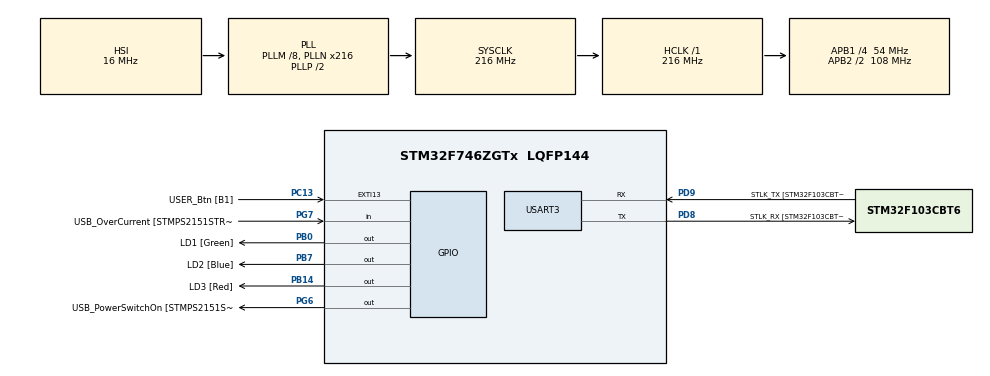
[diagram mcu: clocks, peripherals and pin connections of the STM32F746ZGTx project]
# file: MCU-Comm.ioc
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Mcu.Family=STM32F7
Mcu.Name=STM32F746ZGTx
Mcu.Package=LQFP144
NVIC.PriorityGroup=NVIC_PRIORITYGROUP_4
NVIC.USART3_IRQn=true\:0\:0\:false\:false\:true\:true\:true\:true
PA1.GPIO_Label=RMII_REF_CLK [LAN8742A-CZ-TR_REFCLK0]
PA1.Signal=ETH_REF_CLK
PA10.GPIO_Label=USB_ID
PA10.Signal=USB_OTG_FS_ID
PA11.GPIO_Label=USB_DM
PA11.Signal=USB_OTG_FS_DM
PA12.GPIO_Label=USB_DP
PA12.Signal=USB_OTG_FS_DP
PA13.GPIO_Label=TMS
PA13.Mode=Serial_Wire
PA13.Signal=SYS_JTMS-SWDIO
PA14.GPIO_Label=TCK
PA14.Mode=Serial_Wire
PA14.Signal=SYS_JTCK-SWCLK
PA2.GPIO_Label=RMII_MDIO [LAN8742A-CZ-TR_MDIO]
PA2.Signal=ETH_MDIO
PA7.GPIO_Label=RMII_CRS_DV [LAN8742A-CZ-TR_CRS_DV]
PA7.Signal=ETH_CRS_DV
PA8.GPIO_Label=USB_SOF [TP1]
PA8.Signal=USB_OTG_FS_SOF
PA9.GPIO_Label=USB_VBUS
PA9.Signal=USB_OTG_FS_VBUS
PB0.GPIO_Label=LD1 [Green]
PB0.Signal=GPIO_Output
PB13.GPIO_Label=RMII_TXD1 [LAN8742A-CZ-TR_TXD1]
PB13.Signal=ETH_TXD1
PB14.GPIO_Label=LD3 [Red]
PB14.Signal=GPIO_Output
PB3.GPIO_Label=SW0
PB3.Signal=SYS_JTDO-SWO
PB7.GPIO_Label=LD2 [Blue]
PB7.Signal=GPIO_Output
PC1.GPIO_Label=RMII_MDC [LAN8742A-CZ-TR_MDC]
PC1.Signal=ETH_MDC
PC13.GPIO_Label=USER_Btn [B1]
PC13.Signal=GPXTI13
PC14/OSC32_IN.Signal=RCC_OSC32_IN
PC15/OSC32_OUT.Signal=RCC_OSC32_OUT
PC4.GPIO_Label=RMII_RXD0 [LAN8742A-CZ-TR_RXD0]
PC4.Signal=ETH_RXD0
PC5.GPIO_Label=RMII_RXD1 [LAN8742A-CZ-TR_RXD1]
PC5.Signal=ETH_RXD1
PD8.GPIO_Label=STLK_RX [STM32F103CBT6_PA3]
PD8.GPIO_PuPd=GPIO_PULLUP
PD8.Mode=Asynchronous
PD8.Signal=USART3_TX
PD9.GPIO_Label=STLK_TX [STM32F103CBT6_PA2]
PD9.GPIO_PuPd=GPIO_PULLUP
PD9.Mode=Asynchronous
PD9.Signal=USART3_RX
PG11.GPIO_Label=RMII_TX_EN [LAN8742A-CZ-TR_TXEN]
PG11.Signal=ETH_TX_EN
PG13.GPIO_Label=RMII_TXD0 [LAN8742A-CZ-TR_TXD0]
PG13.Signal=ETH_TXD0
PG6.GPIO_Label=USB_PowerSwitchOn [STMPS2151STR_EN]
PG6.Signal=GPIO_Output
PG7.GPIO_Label=USB_OverCurrent [STMPS2151STR_FAULT]
PG7.Signal=GPIO_Input
PH0/OSC_IN.GPIO_Label=MCO [STM32F103CBT6_PA8]
PH0/OSC_IN.Signal=RCC_OSC_IN
PH1/OSC_OUT.Signal=RCC_OSC_OUT
ProjectManager.HeapSize=0x200
ProjectManager.StackSize=0x400
ProjectManager.TargetToolchain=STM32CubeIDE
RCC.48MHZClocksFreq_Value=24000000
RCC.AHBFreq_Value=216000000
RCC.APB1CLKDivider=RCC_HCLK_DIV4
RCC.APB1Freq_Value=54000000
RCC.APB1TimFreq_Value=108000000
RCC.APB2CLKDivider=RCC_HCLK_DIV2
RCC.APB2Freq_Value=108000000
RCC.APB2TimFreq_Value=216000000
RCC.CortexFreq_Value=216000000
RCC.HCLKFreq_Value=216000000
RCC.HSE_VALUE=8000000
RCC.HSI_VALUE=16000000
RCC.PLLM=8
RCC.PLLMUL=RCC_PLL_MUL9
RCC.PLLN=216
RCC.PLLQ=3
RCC.PRESCALERUSB=RCC_USBCLKSOURCE_PLL_DIV1_5
RCC.SYSCLKFreq_VALUE=216000000
RCC.SYSCLKSource=RCC_SYSCLKSOURCE_PLLCLK
RCC.SYSCLKSourceVirtual=RCC_SYSCLKSOURCE_PLLCLK
RCC.USBFreq_Value=144000000
RCC.VCOOutputFreq_Value=432000000
USART3.VirtualMode-Asynchronous=VM_ASYNC
board=NUCLEO-F746ZG

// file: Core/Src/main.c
/* USER CODE BEGIN Header */
/**
  ******************************************************************************
  * @file           : main.c
  * @brief          : Main program body
  ******************************************************************************
  * @attention
  *
  * Copyright (c) 2024 STMicroelectronics.
  * All rights reserved.
  *
  * This software is licensed under terms that can be found in the LICENSE file
  * in the root directory of this software component.
  * If no LICENSE file comes with this software, it is provided AS-IS.
  *
  ******************************************************************************
  */
/* USER CODE END Header */
#include "main.h"
#include <stdio.h>

UART_HandleTypeDef huart3;

void SystemClock_Config(void);
static void MX_GPIO_Init(void);
static void MX_USART3_UART_Init(void);

/* USER CODE BEGIN 0 */

void uart_tx_bytes(UART_HandleTypeDef *uart, const uint8_t *bytes, uint32_t nBytes)
{
	const uint8_t *pData = bytes;
	uint32_t nData = nBytes;

	while (nData > 0)
	{
		while(!(uart->Instance->ISR & 0x80));

		uart->Instance->TDR = *pData;
		pData++;
		nData--;
	}
}

void uart_rx_bytes(UART_HandleTypeDef *uart, uint8_t *bytes, uint32_t nBytes)
{
	uint8_t *pData = bytes;
	uint32_t nData = nBytes;

	while (nData > 0)
	{
		while (!(uart->Instance->ISR & 0x20));

		*pData = (uint8_t)uart->Instance->RDR;

		pData++;
		nData--;
	}
}

/* USER CODE END 0 */

int main(void)
{

  /* MCU Configuration--------------------------------------------------------*/

  /* Reset of all peripherals, Initializes the Flash interface and the Systick. */
  HAL_Init();

  /* Configure the system clock */
  SystemClock_Config();

  /* Initialize all configured peripherals */
  MX_GPIO_Init();
  MX_USART3_UART_Init();
  /* USER CODE BEGIN 2 */

  uint8_t MSG[35] = {'\0'};
  // uint8_t bytesReceived[35];
  uint8_t i = 0;

  // uint8_t byteRead = 0;
  // uint8_t i = 0;

  /* USER CODE END 2 */

  /* Infinite loop */
  /* USER CODE BEGIN WHILE */
  while (1)
  {
	  // uart_rx_bytes(&huart3, bytesReceived, sizeof(bytesReceived));
	  // uart_tx_bytes(&huart3, MSG, sizeof(MSG));

	  sprintf((char*)MSG, "Hello SDC! i = %d\r\n", i);
	  uart_tx_bytes(&huart3, MSG, sizeof(MSG));
	  HAL_Delay(500);
	  i++;

	  /*uart_rx_bytes(&huart3, &byteRead, sizeof(byteRead));
	  for (i = 0; i < (uint8_t)byteRead; i++)
	  {
		  HAL_GPIO_TogglePin(GPIOB, GPIO_PIN_0);
		  HAL_Delay(1000);
		  HAL_GPIO_TogglePin(GPIOB, GPIO_PIN_0);
	  }*/

	  /*uint8_t receivedByte;
	  uart_rx_bytes(&huart3, &receivedByte, sizeof(receivedByte));

	  for (uint8_t k = 0; k < receivedByte; k++)
	  {
		  HAL_GPIO_WritePin(GPIOB, GPIO_PIN_0, GPIO_PIN_SET);
		  HAL_Delay(1000);
		  HAL_GPIO_WritePin(GPIOB, GPIO_PIN_0, GPIO_PIN_RESET);
	  }*/

    /* USER CODE END WHILE */

  }
}

void SystemClock_Config(void)
{
  RCC_OscInitTypeDef RCC_OscInitStruct = {0};
  RCC_ClkInitTypeDef RCC_ClkInitStruct = {0};

  /** Configure the main internal regulator output voltage
  */
  __HAL_RCC_PWR_CLK_ENABLE();
  __HAL_PWR_VOLTAGESCALING_CONFIG(PWR_REGULATOR_VOLTAGE_SCALE1);

  /** Initializes the RCC Oscillators according to the specified parameters
  * in the RCC_OscInitTypeDef structure.
  */
  RCC_OscInitStruct.OscillatorType = RCC_OSCILLATORTYPE_HSI;
  RCC_OscInitStruct.HSIState = RCC_HSI_ON;
  RCC_OscInitStruct.HSICalibrationValue = RCC_HSICALIBRATION_DEFAULT;
  RCC_OscInitStruct.PLL.PLLState = RCC_PLL_ON;
  RCC_OscInitStruct.PLL.PLLSource = RCC_PLLSOURCE_HSI;
  RCC_OscInitStruct.PLL.PLLM = 8;
  RCC_OscInitStruct.PLL.PLLN = 216;
  RCC_OscInitStruct.PLL.PLLP = RCC_PLLP_DIV2;
  RCC_OscInitStruct.PLL.PLLQ = 3;
  if (HAL_RCC_OscConfig(&RCC_OscInitStruct) != HAL_OK)
  {
    Error_Handler();
  }

  /** Activate the Over-Drive mode
  */
  if (HAL_PWREx_EnableOverDrive() != HAL_OK)
  {
    Error_Handler();
  }

  /** Initializes the CPU, AHB and APB buses clocks
  */
  RCC_ClkInitStruct.ClockType = RCC_CLOCKTYPE_HCLK|RCC_CLOCKTYPE_SYSCLK
                              |RCC_CLOCKTYPE_PCLK1|RCC_CLOCKTYPE_PCLK2;
  RCC_ClkInitStruct.SYSCLKSource = RCC_SYSCLKSOURCE_PLLCLK;
  RCC_ClkInitStruct.AHBCLKDivider = RCC_SYSCLK_DIV1;
  RCC_ClkInitStruct.APB1CLKDivider = RCC_HCLK_DIV4;
  RCC_ClkInitStruct.APB2CLKDivider = RCC_HCLK_DIV2;

  if (HAL_RCC_ClockConfig(&RCC_ClkInitStruct, FLASH_LATENCY_7) != HAL_OK)
  {
    Error_Handler();
  }
}

static void MX_USART3_UART_Init(void)
{

  huart3.Instance = USART3;
  huart3.Init.BaudRate = 115200;
  huart3.Init.WordLength = UART_WORDLENGTH_8B;
  huart3.Init.StopBits = UART_STOPBITS_1;
  huart3.Init.Parity = UART_PARITY_NONE;
  huart3.Init.Mode = UART_MODE_TX_RX;
  huart3.Init.HwFlowCtl = UART_HWCONTROL_NONE;
  huart3.Init.OverSampling = UART_OVERSAMPLING_16;
  huart3.Init.OneBitSampling = UART_ONE_BIT_SAMPLE_DISABLE;
  huart3.AdvancedInit.AdvFeatureInit = UART_ADVFEATURE_NO_INIT;
  if (HAL_UART_Init(&huart3) != HAL_OK)
  {
    Error_Handler();
  }

}

static void MX_GPIO_Init(void)
{
  GPIO_InitTypeDef GPIO_InitStruct = {0};

  /* GPIO Ports Clock Enable */
  __HAL_RCC_GPIOC_CLK_ENABLE();
  __HAL_RCC_GPIOH_CLK_ENABLE();
  __HAL_RCC_GPIOA_CLK_ENABLE();
  __HAL_RCC_GPIOB_CLK_ENABLE();
  __HAL_RCC_GPIOD_CLK_ENABLE();
  __HAL_RCC_GPIOG_CLK_ENABLE();

  /*Configure GPIO pin Output Level */
  HAL_GPIO_WritePin(GPIOB, LD1_Pin|LD3_Pin|LD2_Pin, GPIO_PIN_RESET);

  /*Configure GPIO pin Output Level */
  HAL_GPIO_WritePin(USB_PowerSwitchOn_GPIO_Port, USB_PowerSwitchOn_Pin, GPIO_PIN_RESET);

  /*Configure GPIO pin : USER_Btn_Pin */
  GPIO_InitStruct.Pin = USER_Btn_Pin;
  GPIO_InitStruct.Mode = GPIO_MODE_IT_RISING;
  GPIO_InitStruct.Pull = GPIO_NOPULL;
  HAL_GPIO_Init(USER_Btn_GPIO_Port, &GPIO_InitStruct);

  /*Configure GPIO pins : RMII_MDC_Pin RMII_RXD0_Pin RMII_RXD1_Pin */
  GPIO_InitStruct.Pin = RMII_MDC_Pin|RMII_RXD0_Pin|RMII_RXD1_Pin;
  GPIO_InitStruct.Mode = GPIO_MODE_AF_PP;
  GPIO_InitStruct.Pull = GPIO_NOPULL;
  GPIO_InitStruct.Speed = GPIO_SPEED_FREQ_VERY_HIGH;
  GPIO_InitStruct.Alternate = GPIO_AF11_ETH;
  HAL_GPIO_Init(GPIOC, &GPIO_InitStruct);

  /*Configure GPIO pins : RMII_REF_CLK_Pin RMII_MDIO_Pin RMII_CRS_DV_Pin */
  GPIO_InitStruct.Pin = RMII_REF_CLK_Pin|RMII_MDIO_Pin|RMII_CRS_DV_Pin;
  GPIO_InitStruct.Mode = GPIO_MODE_AF_PP;
  GPIO_InitStruct.Pull = GPIO_NOPULL;
  GPIO_InitStruct.Speed = GPIO_SPEED_FREQ_VERY_HIGH;
  GPIO_InitStruct.Alternate = GPIO_AF11_ETH;
  HAL_GPIO_Init(GPIOA, &GPIO_InitStruct);

  /*Configure GPIO pins : LD1_Pin LD3_Pin LD2_Pin */
  GPIO_InitStruct.Pin = LD1_Pin|LD3_Pin|LD2_Pin;
  GPIO_InitStruct.Mode = GPIO_MODE_OUTPUT_PP;
  GPIO_InitStruct.Pull = GPIO_NOPULL;
  GPIO_InitStruct.Speed = GPIO_SPEED_FREQ_LOW;
  HAL_GPIO_Init(GPIOB, &GPIO_InitStruct);

  /*Configure GPIO pin : RMII_TXD1_Pin */
  GPIO_InitStruct.Pin = RMII_TXD1_Pin;
  GPIO_InitStruct.Mode = GPIO_MODE_AF_PP;
  GPIO_InitStruct.Pull = GPIO_NOPULL;
  GPIO_InitStruct.Speed = GPIO_SPEED_FREQ_VERY_HIGH;
  GPIO_InitStruct.Alternate = GPIO_AF11_ETH;
  HAL_GPIO_Init(RMII_TXD1_GPIO_Port, &GPIO_InitStruct);

  /*Configure GPIO pin : USB_PowerSwitchOn_Pin */
  GPIO_InitStruct.Pin = USB_PowerSwitchOn_Pin;
  GPIO_InitStruct.Mode = GPIO_MODE_OUTPUT_PP;
  GPIO_InitStruct.Pull = GPIO_NOPULL;
  GPIO_InitStruct.Speed = GPIO_SPEED_FREQ_LOW;
  HAL_GPIO_Init(USB_PowerSwitchOn_GPIO_Port, &GPIO_InitStruct);

  /*Configure GPIO pin : USB_OverCurrent_Pin */
  GPIO_InitStruct.Pin = USB_OverCurrent_Pin;
  GPIO_InitStruct.Mode = GPIO_MODE_INPUT;
  GPIO_InitStruct.Pull = GPIO_NOPULL;
  HAL_GPIO_Init(USB_OverCurrent_GPIO_Port, &GPIO_InitStruct);

  /*Configure GPIO pins : USB_SOF_Pin USB_ID_Pin USB_DM_Pin USB_DP_Pin */
  GPIO_InitStruct.Pin = USB_SOF_Pin|USB_ID_Pin|USB_DM_Pin|USB_DP_Pin;
  GPIO_InitStruct.Mode = GPIO_MODE_AF_PP;
  GPIO_InitStruct.Pull = GPIO_NOPULL;
  GPIO_InitStruct.Speed = GPIO_SPEED_FREQ_VERY_HIGH;
  GPIO_InitStruct.Alternate = GPIO_AF10_OTG_FS;
  HAL_GPIO_Init(GPIOA, &GPIO_InitStruct);

  /*Configure GPIO pin : USB_VBUS_Pin */
  GPIO_InitStruct.Pin = USB_VBUS_Pin;
  GPIO_InitStruct.Mode = GPIO_MODE_INPUT;
  GPIO_InitStruct.Pull = GPIO_NOPULL;
  HAL_GPIO_Init(USB_VBUS_GPIO_Port, &GPIO_InitStruct);

  /*Configure GPIO pins : RMII_TX_EN_Pin RMII_TXD0_Pin */
  GPIO_InitStruct.Pin = RMII_TX_EN_Pin|RMII_TXD0_Pin;
  GPIO_InitStruct.Mode = GPIO_MODE_AF_PP;
  GPIO_InitStruct.Pull = GPIO_NOPULL;
  GPIO_InitStruct.Speed = GPIO_SPEED_FREQ_VERY_HIGH;
  GPIO_InitStruct.Alternate = GPIO_AF11_ETH;
  HAL_GPIO_Init(GPIOG, &GPIO_InitStruct);

}

/* USER CODE BEGIN 4 */
/*void uart_tx_bytes(UART_HandleTypeDef *uart, const uint8_t *bytes, uint16_t nBytes)
{
	const uint8_t *dataPtr = bytes;
	uint16_t dataSize = nBytes;

	// Enable transmission
	uart->Instance->CR1 |= 8;
	while (dataSize > 0)
	{
		while (!(uart->Instance->ISR & 0x80));

		uart->Instance->TDR = (uint8_t)(*dataPtr & 0xFF);
		dataPtr++;
		dataSize--;
	}
}

void uart_rx_bytes(UART_HandleTypeDef *uart, uint8_t *bytes, uint16_t nBytes)
{
	uint8_t *dataPtr = bytes;
	uint16_t dataSize = nBytes;

	// Enable transmission
	uart->Instance->CR1 |= 4;
	while (dataSize > 0)
	{
		while (!(uart->Instance->ISR & 0x20));

		*dataPtr = (uint8_t)uart->Instance->RDR;
		dataPtr++;
		dataSize--;
	}
}*/
/* USER CODE END 4 */

void Error_Handler(void)
{
  __disable_irq();
  while (1)
  {
  }
}
